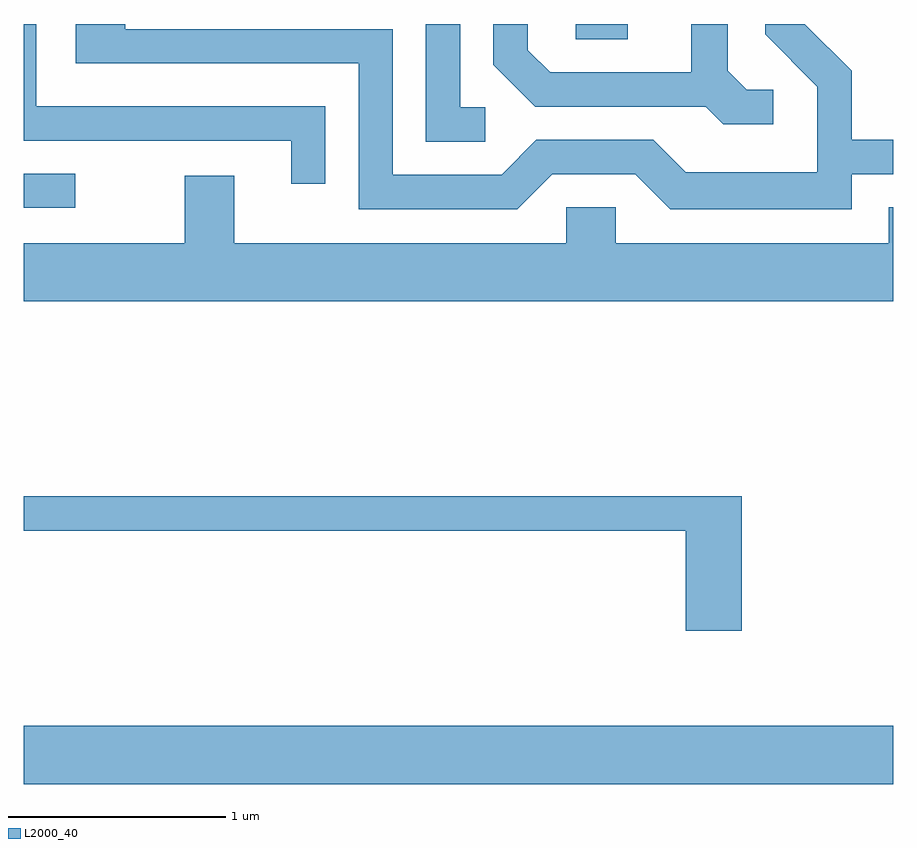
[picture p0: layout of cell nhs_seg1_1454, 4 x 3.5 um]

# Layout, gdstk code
import gdstk
lib = gdstk.Library(unit=1e-6, precision=1e-09)
def R(c, l, rs):  # rectangles x0, y0, x1, y1
    for r in rs: c.add(gdstk.rectangle(r[:2], r[2:], *l))
def P(c, l, *ps):  # polygons
    for p in ps: c.add(gdstk.Polygon(p, *l))
L2000_40 = (2000, 40)

nhs_seg1_1454 = lib.new_cell('nhs_seg1_1454')
R(nhs_seg1_1454, L2000_40, [(229.611,926.216,233.611,926.484), (229.611,928.866,229.848,929.024), (232.151,929.641,232.389,929.712)])
P(nhs_seg1_1454, L2000_40, [(233.058,929.409),(232.937,929.409),(232.849,929.497),(232.849,929.712),(232.681,929.712),(232.681,929.489),(232.032,929.489),(231.929,929.592),(231.929,929.712),(231.771,929.712),(231.771,929.524),(231.964,929.331),(232.749,929.331),(232.829,929.251),(233.058,929.251)],
  [(232.042,929.021),(232.424,929.021),(232.584,928.861),(233.419,928.861),(233.419,929.021),(233.611,929.021),(233.611,929.179),(233.419,929.179),(233.419,929.497),(233.204,929.712),(233.021,929.712),(233.021,929.664),(233.261,929.424),(233.261,929.029),(232.657,929.029),(232.507,929.179),(231.969,929.179),(231.809,929.019),(231.309,929.019),(231.309,929.689),(230.079,929.689),(230.079,929.712),(229.851,929.712),(229.851,929.531),(231.151,929.531),(231.151,928.861),(231.882,928.861)],
  [(231.733,929.329),(231.619,929.329),(231.619,929.712),(231.461,929.712),(231.461,929.171),(231.733,929.171)],
  [(230.999,929.334),(229.669,929.334),(229.669,929.712),(229.611,929.712),(229.611,929.176),(230.841,929.176),(230.841,928.978),(230.999,928.978)],
  [(233.611,928.869),(233.591,928.869),(233.591,928.704),(232.334,928.704),(232.334,928.869),(232.106,928.869),(232.106,928.704),(230.579,928.704),(230.579,929.014),(230.351,929.014),(230.351,928.704),(229.611,928.704),(229.611,928.436),(233.611,928.436)],
  [(232.914,927.539),(229.611,927.539),(229.611,927.381),(232.656,927.381),(232.656,926.921),(232.914,926.921)])

lib.write_gds('nhs_seg1_1454.gds')
